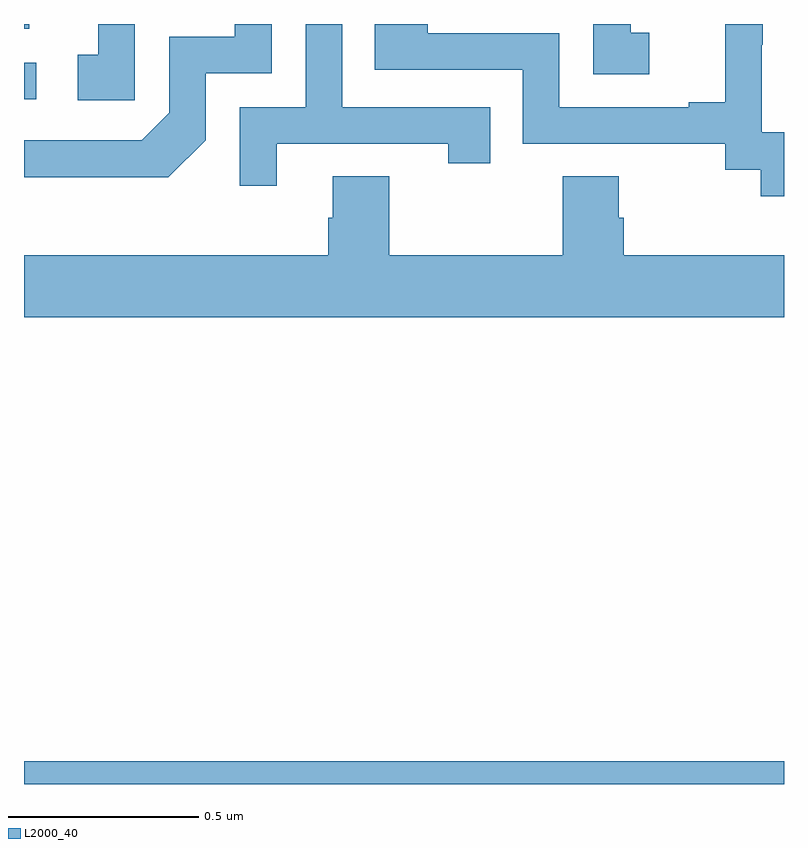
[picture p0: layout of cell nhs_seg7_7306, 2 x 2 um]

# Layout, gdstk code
import gdstk
lib = gdstk.Library(unit=1e-6, precision=1e-09)
def R(c, l, rs):  # rectangles x0, y0, x1, y1
    for r in rs: c.add(gdstk.rectangle(r[:2], r[2:], *l))
def P(c, l, *ps):  # polygons
    for p in ps: c.add(gdstk.Polygon(p, *l))
L2000_40 = (2000, 40)

nhs_seg7_7306 = lib.new_cell('nhs_seg7_7306')
R(nhs_seg7_7306, L2000_40, [(209,1054,211,1054.06), (209,1055.802,209.032,1055.898), (209,1055.987,209.014,1056)])
P(nhs_seg7_7306, L2000_40, [(209.478,1055.694),(209.478,1055.871),(209.652,1055.871),(209.652,1056),(209.555,1056),(209.555,1055.967),(209.382,1055.967),(209.382,1055.766),(209.31,1055.694),(209,1055.694),(209,1055.597),(209.38,1055.597)],
  [(209.665,1055.685),(210.116,1055.685),(210.116,1055.634),(210.227,1055.634),(210.227,1055.781),(209.838,1055.781),(209.838,1056),(209.742,1056),(209.742,1055.781),(209.568,1055.781),(209.568,1055.574),(209.665,1055.574)],
  [(210.646,1055.977),(210.597,1055.977),(210.597,1056),(210.498,1056),(210.498,1055.868),(210.646,1055.868)],
  [(209.292,1056),(209.195,1056),(209.195,1055.919),(209.142,1055.919),(209.142,1055.799),(209.292,1055.799)],
  [(211,1055.715),(210.942,1055.715),(210.942,1055.945),(210.944,1055.945),(210.944,1056),(210.845,1056),(210.845,1055.794),(210.749,1055.794),(210.749,1055.781),(210.408,1055.781),(210.408,1055.976),(210.063,1055.976),(210.063,1056),(209.923,1056),(209.923,1055.88),(210.312,1055.88),(210.312,1055.685),(210.846,1055.685),(210.846,1055.617),(210.939,1055.617),(210.939,1055.547),(211,1055.547)],
  [(209.813,1055.6),(209.813,1055.49),(209.801,1055.49),(209.801,1055.392),(209,1055.392),(209,1055.228),(211,1055.228),(211,1055.392),(210.578,1055.392),(210.578,1055.49),(210.565,1055.49),(210.565,1055.6),(210.418,1055.6),(210.418,1055.392),(209.961,1055.392),(209.961,1055.6)])

lib.write_gds('nhs_seg7_7306.gds')
